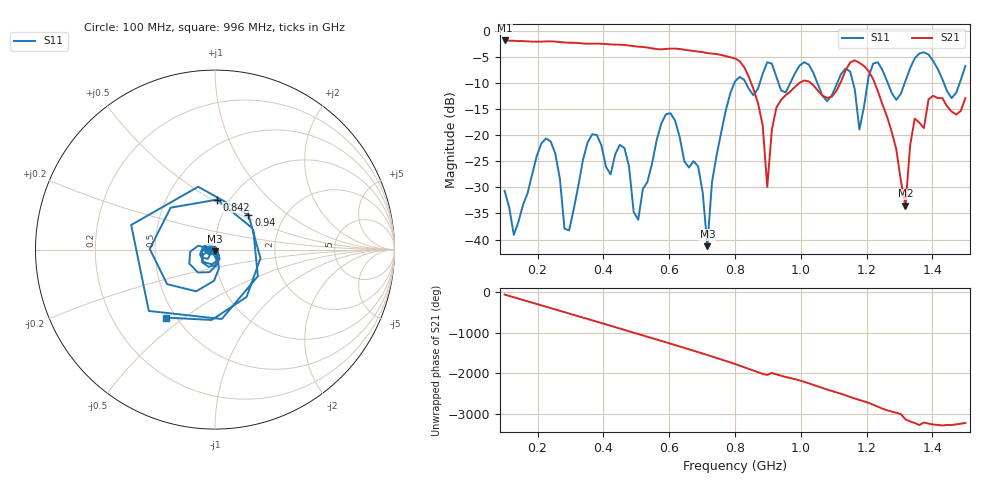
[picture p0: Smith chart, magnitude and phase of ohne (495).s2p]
! NanoVNA-App
! Date: 2025-09-25 14:24:39
! Start: 100MHz Stop: 1,5GHz Points: 101
! S-Parameter data: F S11 S21 S12 S22
# Hz S RI R 50
!  Frequency  S11_Real  S11_Imag  S21_Real  S21_Imag  S12_Real  S12_Imag  S22_Real  S22_Imag
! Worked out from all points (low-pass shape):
!   101 points, 100 MHz to 1.5 GHz, reference 50 ohm
!   highest |S21| = -1.79 dB at 100 MHz (marker M1); lowest = -33.5 dB at 1.318 GHz (marker M2)
!   |S21| within 3 dB of the highest: start of sweep to 771.7 MHz
!   lowest |S11| = -41.3 dB at 716 MHz (marker M3), VSWR 1.02, Z = 49.8 - j0.846 ohm
!   |S11| at or under -10 dB: start of sweep to 797.8 MHz; 833.1 MHz to 875.1 MHz (41.96 MHz wide, 4.91 % of centre); 1.051 GHz to 1.11 GHz (59.94 MHz wide, 5.55 % of centre) (the widest 3 of 7)
!   S12 and S22 are empty: the file has one direction only
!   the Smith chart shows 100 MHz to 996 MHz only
!   S11 on the Smith chart (normalised r, x): 100 MHz: 0.94, -0.01; 842 MHz: 0.88, +0.53; 940 MHz: 1.33, +0.55; 996 MHz: 0.45, -0.43
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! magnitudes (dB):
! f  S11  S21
! 100 MHz  -30.6  -1.8
! 128 MHz  -39.1  -1.9
! 226 MHz  -20.6  -2.0
! 296 MHz  -38.2  -2.2
! 338 MHz  -24.7  -2.4
! 464 MHz  -22.4  -2.7
! 506 MHz  -36.2  -3.0
! 576 MHz  -17.7  -3.5
! 688 MHz  -26.0  -3.9
! 716 MHz  -41.3  -4.2
! 800 MHz  -9.7  -5.2
! 842 MHz  -11.1  -8.8
! 898 MHz  -6.0  -29.9
! 940 MHz  -11.4  -13.2
! 996 MHz  -6.6  -9.9
! 1.038 GHz  -8.0  -10.4
! 1.178 GHz  -18.9  -6.1
! 1.22 GHz  -6.2  -9.3
! 1.276 GHz  -11.8  -19.3
! 1.318 GHz  -9.6  -33.5
! 1.346 GHz  -5.2  -16.8
! 1.5 GHz  -6.7  -12.8
